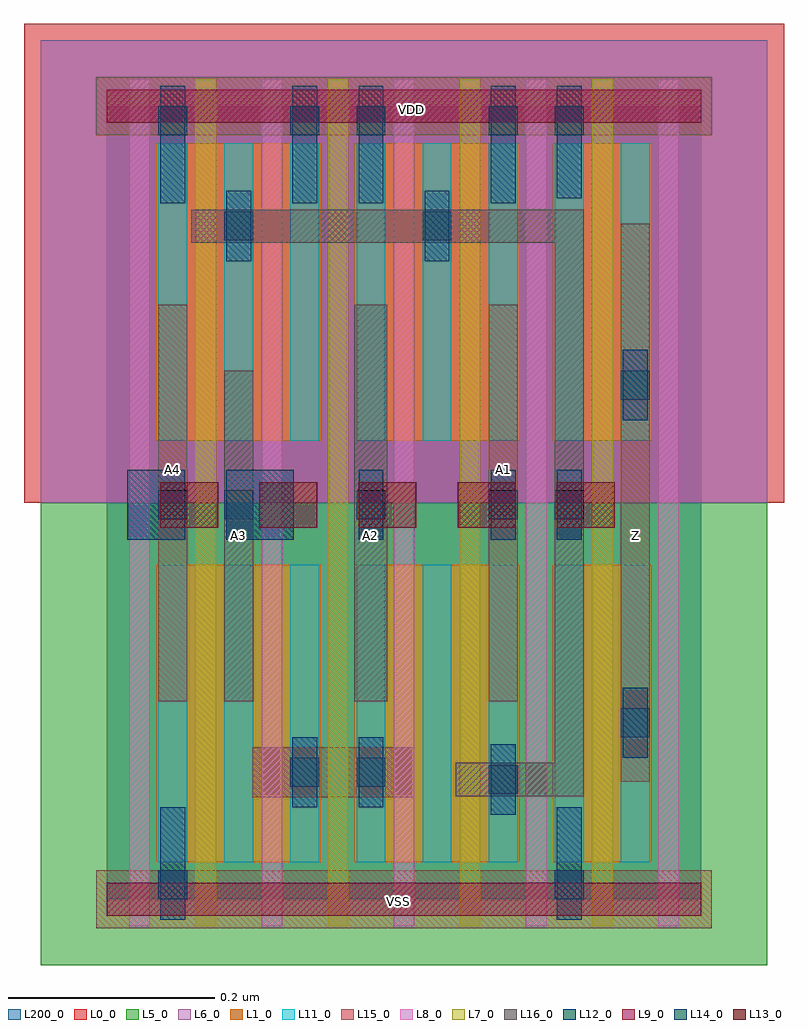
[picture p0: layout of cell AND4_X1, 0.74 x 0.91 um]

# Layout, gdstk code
import gdstk
lib = gdstk.Library(unit=1e-6, precision=1e-09)
def R(c, l, rs):  # rectangles x0, y0, x1, y1
    for r in rs: c.add(gdstk.rectangle(r[:2], r[2:], *l))
def A(c, l, x, y, w, h, nx, ny, dx, dy):  # array of equal rectangles
    R(c, l, [(x+i*dx, y+j*dy, x+i*dx+w, y+j*dy+h) for i in range(nx) for j in range(ny)])
def P(c, l, *ps):  # polygons
    for p in ps: c.add(gdstk.Polygon(p, *l))
L0_0 = (0, 0)
L1_0 = (1, 0)
L5_0 = (5, 0)
L6_0 = (6, 0)
L7_0 = (7, 0)
L8_0 = (8, 0)
L9_0 = (9, 0)
L11_0 = (11, 0)
L12_0 = (12, 0)
L13_0 = (13, 0)
L14_0 = (14, 0)
L15_0 = (15, 0)
L16_0 = (16, 0)
L200_0 = (200, 0)

and4_x1 = lib.new_cell('AND4_X1')
R(and4_x1, L0_0, [(-0.08,0.384,0.656,0.848)])
R(and4_x1, L1_0, [(0.048,0.036,0.208,0.324), (0.24,0.036,0.4,0.324), (0.432,0.036,0.528,0.324), (0.048,0.444,0.208,0.732), (0.24,0.444,0.4,0.732), (0.432,0.444,0.528,0.732)])
R(and4_x1, L5_0, [(-0.064,-0.064,0.64,0.384)])
R(and4_x1, L6_0, [(-0.064,0.384,0.64,0.832)])
A(and4_x1, L7_0, 0.086, -0.026, 0.02, 0.82, 4, 1, 0.128, 0)
A(and4_x1, L8_0, 0.022, -0.026, 0.02, 0.82, 5, 1, 0.128, 0)
R(and4_x1, L9_0, [(0,-0.016,0.576,0.016), (0,0.752,0.576,0.784)])
A(and4_x1, L11_0, 0.05, 0.036, 0.028, 0.288, 8, 2, 0.064, 0.408)
R(and4_x1, L12_0, [(0.052,-0.02,0.076,0.089), (0.436,-0.02,0.46,0.089), (0.372,0.082,0.396,0.15), (0.18,0.089,0.204,0.157), (0.244,0.089,0.268,0.157), (0.5,0.137,0.524,0.205), (0.02,0.348,0.076,0.416), (0.116,0.348,0.181,0.416), (0.244,0.348,0.268,0.416), (0.372,0.348,0.396,0.416), (0.436,0.348,0.46,0.416), (0.5,0.464,0.524,0.532), (0.116,0.618,0.14,0.686), (0.308,0.618,0.332,0.686), (0.052,0.674,0.076,0.788), (0.18,0.674,0.204,0.788), (0.244,0.674,0.268,0.788), (0.372,0.674,0.396,0.788), (0.436,0.679,0.46,0.788)])
A(and4_x1, L13_0, 0.052, 0.36, 0.056, 0.044, 5, 1, 0.096, 0)
A(and4_x1, L14_0, 0.114, 0.368, 0.028, 0.028, 3, 1, 0.128, 0)
R(and4_x1, L14_0, [(0.05,0,0.078,0.028), (0.434,0,0.462,0.028), (0.37,0.102,0.398,0.13), (0.178,0.109,0.206,0.137), (0.242,0.109,0.27,0.137), (0.498,0.157,0.526,0.185), (0.05,0.368,0.078,0.396), (0.434,0.368,0.462,0.396), (0.498,0.484,0.526,0.512), (0.114,0.638,0.142,0.666), (0.306,0.638,0.334,0.666), (0.05,0.74,0.078,0.768), (0.178,0.74,0.206,0.768), (0.242,0.74,0.27,0.768), (0.37,0.74,0.398,0.768), (0.434,0.74,0.462,0.768)])
R(and4_x1, L15_0, [(-0.01,-0.028,0.586,0.028), (0.141,0.099,0.298,0.147), (0.498,0.114,0.526,0.654), (0.05,0.192,0.078,0.576), (0.37,0.192,0.398,0.576), (-0.01,0.74,0.586,0.796)])
R(and4_x1, L16_0, [(0.114,0.192,0.142,0.512), (0.24,0.192,0.272,0.576)])
P(and4_x1, L16_0, [(0.082,0.636),(0.434,0.636),(0.434,0.132),(0.338,0.132),(0.338,0.1),(0.462,0.1),(0.462,0.668),(0.082,0.668)])
R(and4_x1, L200_0, [(0,0,0.576,0.768)])
and4_x1.add(gdstk.Label('VSS', (0.283,-0.002), layer=15, texttype=20))
and4_x1.add(gdstk.Label('A4', (0.064,0.416), layer=15, texttype=20))
and4_x1.add(gdstk.Label('A1', (0.384,0.416), layer=15, texttype=20))
and4_x1.add(gdstk.Label('Z', (0.512,0.352), layer=15, texttype=20))
and4_x1.add(gdstk.Label('VDD', (0.295,0.765), layer=15, texttype=20))
and4_x1.add(gdstk.Label('A3', (0.128,0.352), layer=16, texttype=20))
and4_x1.add(gdstk.Label('A2', (0.256,0.352), layer=16, texttype=20))

lib.write_gds('AND4_X1.gds')
